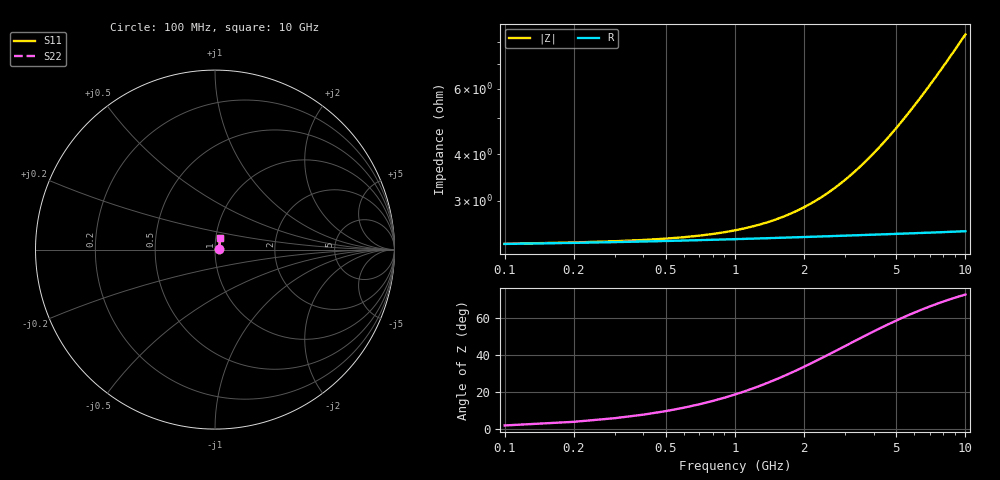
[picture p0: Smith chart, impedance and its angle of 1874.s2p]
# Hz S RI R 50.00
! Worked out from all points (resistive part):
!   100 points, 100 MHz to 10 GHz, reference 50 ohm
!   read as one part in series: R = 2.29 ohm at 100 MHz
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1e8  0.0224 0.000639  0.9776 -0.000894  0.9776 -0.000894  0.0224 0.000639
6e8  0.0229 0.00383  0.9771 -0.00536  0.9771 -0.00536  0.0229 0.00383
8e8  0.023 0.0051  0.977 -0.00715  0.977 -0.00715  0.023 0.0051
1e9  0.0231 0.00637  0.9769 -0.00893  0.9769 -0.00893  0.0231 0.00637
1.2e9  0.0232 0.00765  0.9767 -0.0107  0.9767 -0.0107  0.0232 0.00765
1.4e9  0.0233 0.00892  0.9767 -0.0125  0.9767 -0.0125  0.0233 0.00892
1.8e9  0.0235 0.0115  0.9765 -0.0161  0.9765 -0.0161  0.0235 0.0115
2.1e9  0.0237 0.0134  0.9763 -0.0187  0.9763 -0.0187  0.0237 0.0134
2.4e9  0.0238 0.0153  0.9762 -0.0214  0.9762 -0.0214  0.0238 0.0153
2.8e9  0.024 0.0178  0.976 -0.025  0.976 -0.025  0.024 0.0178
3.4e9  0.0243 0.0216  0.9756 -0.0303  0.9756 -0.0303  0.0243 0.0216
4.3e9  0.0248 0.0273  0.9751 -0.0383  0.9751 -0.0383  0.0248 0.0273
5.1e9  0.0254 0.0324  0.9745 -0.0455  0.9745 -0.0455  0.0254 0.0324
5.5e9  0.0256 0.0349  0.9742 -0.049  0.9742 -0.049  0.0256 0.0349
5.9e9  0.026 0.0374  0.9739 -0.0526  0.9739 -0.0526  0.026 0.0374
6.3e9  0.0263 0.04  0.9736 -0.0561  0.9736 -0.0561  0.0263 0.04
6.7e9  0.0266 0.0425  0.9732 -0.0596  0.9732 -0.0596  0.0266 0.0425
7.5e9  0.0273 0.0475  0.9725 -0.0667  0.9725 -0.0667  0.0273 0.0475
7.9e9  0.0277 0.05  0.9721 -0.0703  0.9721 -0.0703  0.0277 0.05
8.4e9  0.0282 0.0532  0.9715 -0.0747  0.9715 -0.0747  0.0282 0.0532
9.2e9  0.0291 0.0582  0.9706 -0.0817  0.9706 -0.0817  0.0291 0.0582
1e10  0.03 0.0631  0.9696 -0.0888  0.9696 -0.0888  0.03 0.0631
